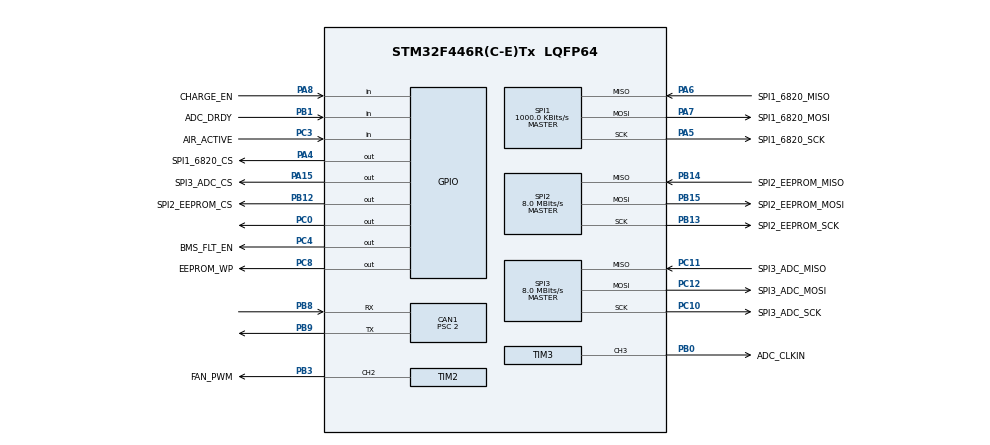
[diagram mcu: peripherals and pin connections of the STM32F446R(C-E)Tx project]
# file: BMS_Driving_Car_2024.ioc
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CAN1.BS1=CAN_BS1_13TQ
CAN1.BS2=CAN_BS2_2TQ
CAN1.CalculateBaudRate=500000
CAN1.CalculateTimeBit=2000
CAN1.CalculateTimeQuantum=125.0
CAN1.Prescaler=2
Mcu.Family=STM32F4
Mcu.Name=STM32F446R(C-E)Tx
Mcu.Package=LQFP64
NVIC.PriorityGroup=NVIC_PRIORITYGROUP_4
PA13.Mode=Serial_Wire
PA13.Signal=SYS_JTMS-SWDIO
PA14.Mode=Serial_Wire
PA14.Signal=SYS_JTCK-SWCLK
PA15.GPIO_Label=SPI3_ADC_CS
PA15.Signal=GPIO_Output
PA4.GPIO_Label=SPI1_6820_CS
PA4.Signal=GPIO_Output
PA5.GPIO_Label=SPI1_6820_SCK
PA5.Mode=Full_Duplex_Master
PA5.Signal=SPI1_SCK
PA6.GPIO_Label=SPI1_6820_MISO
PA6.Mode=Full_Duplex_Master
PA6.Signal=SPI1_MISO
PA7.GPIO_Label=SPI1_6820_MOSI
PA7.Mode=Full_Duplex_Master
PA7.Signal=SPI1_MOSI
PA8.GPIO_Label=CHARGE_EN
PA8.Signal=GPIO_Input
PB0.GPIO_Label=ADC_CLKIN
PB0.Signal=S_TIM3_CH3
PB1.GPIO_Label=ADC_DRDY
PB1.Signal=GPIO_Input
PB12.GPIO_Label=SPI2_EEPROM_CS
PB12.Signal=GPIO_Output
PB13.GPIO_Label=SPI2_EEPROM_SCK
PB13.Mode=Full_Duplex_Master
PB13.Signal=SPI2_SCK
PB14.GPIO_Label=SPI2_EEPROM_MISO
PB14.Mode=Full_Duplex_Master
PB14.Signal=SPI2_MISO
PB15.GPIO_Label=SPI2_EEPROM_MOSI
PB15.Mode=Full_Duplex_Master
PB15.Signal=SPI2_MOSI
PB3.GPIO_Label=FAN_PWM
PB3.Signal=S_TIM2_CH2
PB8.Mode=CAN_Activate
PB8.Signal=CAN1_RX
PB9.Mode=CAN_Activate
PB9.Signal=CAN1_TX
PC0.Signal=GPIO_Output
PC10.GPIO_Label=SPI3_ADC_SCK
PC10.Mode=Full_Duplex_Master
PC10.Signal=SPI3_SCK
PC11.GPIO_Label=SPI3_ADC_MISO
PC11.Mode=Full_Duplex_Master
PC11.Signal=SPI3_MISO
PC12.GPIO_Label=SPI3_ADC_MOSI
PC12.Mode=Full_Duplex_Master
PC12.Signal=SPI3_MOSI
PC3.GPIO_Label=AIR_ACTIVE
PC3.Signal=GPIO_Input
PC4.GPIO_Label=BMS_FLT_EN
PC4.Signal=GPIO_Output
PC8.GPIO_Label=EEPROM_WP
PC8.Signal=GPIO_Output
ProjectManager.HeapSize=0x200
ProjectManager.StackSize=0x400
ProjectManager.TargetToolchain=STM32CubeIDE
RCC.CortexFreq_Value=16000000
RCC.USBFreq_Value=96000000
RCC.VCOOutputFreq_Value=192000000
SH.S_TIM2_CH2.0=TIM2_CH2,PWM Generation2 CH2
SH.S_TIM3_CH3.0=TIM3_CH3,PWM Generation3 CH3
SPI1.BaudRatePrescaler=SPI_BAUDRATEPRESCALER_16
SPI1.CLKPhase=SPI_PHASE_2EDGE
SPI1.CLKPolarity=SPI_POLARITY_HIGH
SPI1.CalculateBaudRate=1000.0 KBits/s
SPI1.Direction=SPI_DIRECTION_2LINES
SPI1.Mode=SPI_MODE_MASTER
SPI1.VirtualType=VM_MASTER
SPI2.CalculateBaudRate=8.0 MBits/s
SPI2.Direction=SPI_DIRECTION_2LINES
SPI2.Mode=SPI_MODE_MASTER
SPI2.VirtualType=VM_MASTER
SPI3.CLKPhase=SPI_PHASE_2EDGE
SPI3.CalculateBaudRate=8.0 MBits/s
SPI3.Direction=SPI_DIRECTION_2LINES
SPI3.Mode=SPI_MODE_MASTER
SPI3.VirtualType=VM_MASTER
TIM2.Channel-PWM\ Generation2\ CH2=TIM_CHANNEL_2
TIM2.Period=100-1
TIM2.Prescaler=16
TIM2.Pulse-PWM\ Generation2\ CH2=1
TIM3.Channel-PWM\ Generation3\ CH3=TIM_CHANNEL_3
TIM3.Period=1
TIM3.Pulse-PWM\ Generation3\ CH3=1
board=custom

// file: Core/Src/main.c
/* USER CODE BEGIN Header */
/**
  ******************************************************************************
  * @file           : main.c
  * @brief          : Main program body
  ******************************************************************************
  * @attention
  *
  * Copyright (c) 2024 STMicroelectronics.
  * All rights reserved.
  *
  * This software is licensed under terms that can be found in the LICENSE file
  * in the root directory of this software component.
  * If no LICENSE file comes with this software, it is provided AS-IS.
  *
  ******************************************************************************
  */
/* USER CODE END Header */
#include "main.h"

/* USER CODE BEGIN Includes */
#include <stdbool.h>
#include "BMSconfig.h"
#include "Fault.h"
// #include "LTC2949.h"
#include "LTC6811.h"
#include "PackCalculations.h"
#include "SPI.h"

/* USER CODE END Includes */

/* USER CODE BEGIN PD */
#define POLLING_ID 0x4E0
#define CELLVAL_ID 0x780
#define BMSSTAT_ID 0x781
#define BMSVINF_ID 0x782
#define BMSTINF_ID 0x783
#define PACKSTAT_ID 0x180
#define CHARGER_OUT_ID 0x405
#define CELL_VOLTAGE_FAULTS 0x785
#define CELL_TEMP_FAULTS 0x786

#define CHARGER_IN_ID 0x1806E5F4
#define CHARGER_INFO_ID 0x700
#define CONSTANT_CAN_ENABLE 1

#define BALANCE_EN  0

/* USER CODE END PD */

CAN_HandleTypeDef hcan1;

SPI_HandleTypeDef hspi1;
SPI_HandleTypeDef hspi2;
SPI_HandleTypeDef hspi3;

TIM_HandleTypeDef htim2;
TIM_HandleTypeDef htim3;

/* USER CODE BEGIN PV */
SPI_HandleTypeDef *ltc_spi = &hspi1;

CAN_TxHeaderTypeDef TxHeader;
CAN_RxHeaderTypeDef RxHeader;
uint8_t TxData[8];
uint8_t RxData[8] = {0, 0, 0, 0, 0, 0, 0, 0};
uint32_t TxMailbox;

CAN_TxHeaderTypeDef ChargerTxHeader;
uint8_t ChargerTxData[8];
uint8_t charge_rate = 2;
uint8_t global_error_count = 0;
uint8_t balance_counter = 0;

bool CHARGE_EN = 1;
bool BMS_FAULT = 0;

uint16_t *buff_2949;
bool ret_2949;

uint8_t BMS_DATA[144][6];
uint8_t BMS_STATUS[6];
uint8_t CELLVAL_DATA[6];
bool discharge[12][12];
bool full_discharge[12][12];

/* USER CODE END PV */

void SystemClock_Config(void);
static void MX_GPIO_Init(void);
static void MX_CAN1_Init(void);
static void MX_SPI1_Init(void);
static void MX_SPI2_Init(void);
static void MX_SPI3_Init(void);
static void MX_TIM2_Init(void);
static void MX_TIM3_Init(void);
/* USER CODE BEGIN PFP */
void setChargerTxData(BMSConfigStructTypedef cfg);
void CELLVAL_message(BMSConfigStructTypedef cfg, uint8_t bmsData[144][6]);
void BMSSTAT_message(BMSConfigStructTypedef cfg, uint8_t bmsStatus[6]);
void BMSVINF_message(BMSConfigStructTypedef cfg, BMS_critical_info_t bms);
void BMSTINF_message(BMSConfigStructTypedef cfg, BMS_critical_info_t bms, bool BMS_FAULT);
// void PACKSTAT_message(BMSConfigStructTypedef cfg, BMS_critical_info_t bms, uint8_t bmsData[144][6]); // old method
void PACKSTAT_message(BMSConfigStructTypedef cfg, BMS_critical_info_t bms); // draft :D
bool pollingFlag = false;
/* USER CODE END PFP */

int main(void)
{

  /* MCU Configuration--------------------------------------------------------*/

  /* Reset of all peripherals, Initializes the Flash interface and the Systick. */
  HAL_Init();

  /* USER CODE BEGIN Init */
    BMSConfigStructTypedef BMSConfig;
    BMS_critical_info_t BMSCriticalInfo;

  /* USER CODE END Init */

  /* Configure the system clock */
  SystemClock_Config();

  /* Initialize all configured peripherals */
  MX_GPIO_Init();
  MX_CAN1_Init();
  MX_SPI1_Init();
  MX_SPI2_Init();
  MX_SPI3_Init();
  MX_TIM2_Init();
  MX_TIM3_Init();
  /* USER CODE BEGIN 2 */
    initPECTable();
    loadConfig(&BMSConfig);
    init_BMS_info(&BMSCriticalInfo, &BMSConfig);

    HAL_CAN_Start(&hcan1);

  /* USER CODE END 2 */
  uint16_t adi = 0;

  /* Infinite loop */
    while (1)
    {
    /* USER CODE BEGIN 3 */
    	adi++;
    	HAL_TIM_PWM_Start(&htim2, TIM_CHANNEL_2);
    	TIM2 -> CCR2 = 50;

        writeConfigAll(&BMSConfig);
        HAL_Delay(50);	 // TODO: Why is this here?

        /** FUNCTION CALL OVERVIEW
         * First: Call read6811 -> Voltages, Temps on 6811
         * Second: Check for Faults
         * Third: Call balancing algorithm
         * Fourth : Remaining CAN messages
         * Last: :3
         */
        readAllCellVoltages(BMSConfig, BMS_DATA);
        setCriticalVoltages(&BMSConfig, &BMSCriticalInfo, BMS_DATA);

        // Read all Temps from LTC6811, store them in 144x6 array, set the critical info struct, then send temp info over CAN
        readAllCellTemps(BMSConfig, BMS_DATA);

        setCriticalTemps(&BMSConfig, &BMSCriticalInfo, BMS_DATA);

        // Check cell connections -> not sure if this works -_-
        checkAllCellConnections(BMSConfig, BMS_DATA);

        BMSConfig.UV_threshold = (CHARGE_EN == 0) ? BMSConfig.LUV_threshold : BMSConfig.HUV_threshold;

        /* DO THIS WHEN TESTING BMS FAULTS*/    //*NOTE* : need to figure out which pin is the BMS fault pin
         bool BMS_FAULT = FAULT_check(&BMSConfig, &BMSCriticalInfo, BMS_DATA, BMS_STATUS);
         if (BMS_FAULT == false) {
        	 global_error_count = 0;
        	 HAL_GPIO_WritePin(BMS_FLT_EN_GPIO_Port, BMS_FLT_EN_Pin, GPIO_PIN_RESET);
         }
         else {
         	global_error_count++;
         	if (global_error_count == 1) {
         		global_error_count = 0;
         		HAL_GPIO_WritePin(BMS_FLT_EN_GPIO_Port, BMS_FLT_EN_Pin, GPIO_PIN_SET);
             }
         }

        // Finally, balance if charging and toggled
        // TODO: make no balance when bms fault
        if(CHARGE_EN == 0 && BALANCE_EN == 1) {
            if(charge_rate != 0) {
                balance(&BMSConfig, &BMSCriticalInfo, BMS_DATA, discharge, full_discharge, balance_counter, charge_rate);

                if(balance_counter == 12) {
                    balance_counter = 0;
                }
            }
            setChargerTxData(BMSConfig);

            if(charge_rate != 0) {
                dischargeCellGroups(&BMSConfig, discharge);
                HAL_Delay(BMSConfig.dischargeTime);
            } else {
                // checkDischarge(BMSConfig, full_discharge, BMS_DATA); // not anywhere in past code??? WTF
                dischargeCellGroups(&BMSConfig, full_discharge);
                HAL_Delay(BMSConfig.dischargeTime);
            }
        }

        // Send remaining CAN messages
        BMSVINF_message(BMSConfig, BMSCriticalInfo);
        BMSTINF_message(BMSConfig, BMSCriticalInfo, BMS_FAULT);
        PACKSTAT_message(BMSConfig, BMSCriticalInfo);
        BMSSTAT_message(BMSConfig, BMS_STATUS);
        PACKSTAT_message(BMSConfig, BMSCriticalInfo);

      if (pollingFlag || CONSTANT_CAN_ENABLE){
        CELLVAL_message(BMSConfig, BMS_DATA);
        pollingFlag = false;
      }
    }

  /* USER CODE END 3 */
}

void SystemClock_Config(void)
{
  RCC_OscInitTypeDef RCC_OscInitStruct = {0};
  RCC_ClkInitTypeDef RCC_ClkInitStruct = {0};

  /** Configure the main internal regulator output voltage
  */
  __HAL_RCC_PWR_CLK_ENABLE();
  __HAL_PWR_VOLTAGESCALING_CONFIG(PWR_REGULATOR_VOLTAGE_SCALE3);

  /** Initializes the RCC Oscillators according to the specified parameters
  * in the RCC_OscInitTypeDef structure.
  */
  RCC_OscInitStruct.OscillatorType = RCC_OSCILLATORTYPE_HSI;
  RCC_OscInitStruct.HSIState = RCC_HSI_ON;
  RCC_OscInitStruct.HSICalibrationValue = RCC_HSICALIBRATION_DEFAULT;
  RCC_OscInitStruct.PLL.PLLState = RCC_PLL_NONE;
  if (HAL_RCC_OscConfig(&RCC_OscInitStruct) != HAL_OK)
  {
    Error_Handler();
  }

  /** Initializes the CPU, AHB and APB buses clocks
  */
  RCC_ClkInitStruct.ClockType = RCC_CLOCKTYPE_HCLK|RCC_CLOCKTYPE_SYSCLK
                              |RCC_CLOCKTYPE_PCLK1|RCC_CLOCKTYPE_PCLK2;
  RCC_ClkInitStruct.SYSCLKSource = RCC_SYSCLKSOURCE_HSI;
  RCC_ClkInitStruct.AHBCLKDivider = RCC_SYSCLK_DIV1;
  RCC_ClkInitStruct.APB1CLKDivider = RCC_HCLK_DIV1;
  RCC_ClkInitStruct.APB2CLKDivider = RCC_HCLK_DIV1;

  if (HAL_RCC_ClockConfig(&RCC_ClkInitStruct, FLASH_LATENCY_0) != HAL_OK)
  {
    Error_Handler();
  }
}

static void MX_CAN1_Init(void)
{

  hcan1.Instance = CAN1;
  hcan1.Init.Prescaler = 2;
  hcan1.Init.Mode = CAN_MODE_NORMAL;
  hcan1.Init.SyncJumpWidth = CAN_SJW_1TQ;
  hcan1.Init.TimeSeg1 = CAN_BS1_13TQ;
  hcan1.Init.TimeSeg2 = CAN_BS2_2TQ;
  hcan1.Init.TimeTriggeredMode = DISABLE;
  hcan1.Init.AutoBusOff = DISABLE;
  hcan1.Init.AutoWakeUp = DISABLE;
  hcan1.Init.AutoRetransmission = DISABLE;
  hcan1.Init.ReceiveFifoLocked = DISABLE;
  hcan1.Init.TransmitFifoPriority = DISABLE;
  if (HAL_CAN_Init(&hcan1) != HAL_OK)
  {
    Error_Handler();
  }
  /* USER CODE BEGIN CAN1_Init 2 */

  // This ties the interupt to the rx_fifo0 msg bufer
  if (HAL_CAN_ActivateNotification(&hcan1, CAN_IT_RX_FIFO0_MSG_PENDING) != HAL_OK)
   {
     Error_Handler();
   }
  /* USER CODE END CAN1_Init 2 */

}

static void MX_SPI1_Init(void)
{

  /* SPI1 parameter configuration*/
  hspi1.Instance = SPI1;
  hspi1.Init.Mode = SPI_MODE_MASTER;
  hspi1.Init.Direction = SPI_DIRECTION_2LINES;
  hspi1.Init.DataSize = SPI_DATASIZE_8BIT;
  hspi1.Init.CLKPolarity = SPI_POLARITY_HIGH;
  hspi1.Init.CLKPhase = SPI_PHASE_2EDGE;
  hspi1.Init.NSS = SPI_NSS_SOFT;
  hspi1.Init.BaudRatePrescaler = SPI_BAUDRATEPRESCALER_16;
  hspi1.Init.FirstBit = SPI_FIRSTBIT_MSB;
  hspi1.Init.TIMode = SPI_TIMODE_DISABLE;
  hspi1.Init.CRCCalculation = SPI_CRCCALCULATION_DISABLE;
  hspi1.Init.CRCPolynomial = 10;
  if (HAL_SPI_Init(&hspi1) != HAL_OK)
  {
    Error_Handler();
  }

}

static void MX_SPI2_Init(void)
{

  /* SPI2 parameter configuration*/
  hspi2.Instance = SPI2;
  hspi2.Init.Mode = SPI_MODE_MASTER;
  hspi2.Init.Direction = SPI_DIRECTION_2LINES;
  hspi2.Init.DataSize = SPI_DATASIZE_8BIT;
  hspi2.Init.CLKPolarity = SPI_POLARITY_LOW;
  hspi2.Init.CLKPhase = SPI_PHASE_1EDGE;
  hspi2.Init.NSS = SPI_NSS_SOFT;
  hspi2.Init.BaudRatePrescaler = SPI_BAUDRATEPRESCALER_2;
  hspi2.Init.FirstBit = SPI_FIRSTBIT_MSB;
  hspi2.Init.TIMode = SPI_TIMODE_DISABLE;
  hspi2.Init.CRCCalculation = SPI_CRCCALCULATION_DISABLE;
  hspi2.Init.CRCPolynomial = 10;
  if (HAL_SPI_Init(&hspi2) != HAL_OK)
  {
    Error_Handler();
  }

}

static void MX_SPI3_Init(void)
{

  /* SPI3 parameter configuration*/
  hspi3.Instance = SPI3;
  hspi3.Init.Mode = SPI_MODE_MASTER;
  hspi3.Init.Direction = SPI_DIRECTION_2LINES;
  hspi3.Init.DataSize = SPI_DATASIZE_8BIT;
  hspi3.Init.CLKPolarity = SPI_POLARITY_LOW;
  hspi3.Init.CLKPhase = SPI_PHASE_2EDGE;
  hspi3.Init.NSS = SPI_NSS_SOFT;
  hspi3.Init.BaudRatePrescaler = SPI_BAUDRATEPRESCALER_2;
  hspi3.Init.FirstBit = SPI_FIRSTBIT_MSB;
  hspi3.Init.TIMode = SPI_TIMODE_DISABLE;
  hspi3.Init.CRCCalculation = SPI_CRCCALCULATION_DISABLE;
  hspi3.Init.CRCPolynomial = 10;
  if (HAL_SPI_Init(&hspi3) != HAL_OK)
  {
    Error_Handler();
  }

}

static void MX_TIM2_Init(void)
{

  TIM_MasterConfigTypeDef sMasterConfig = {0};
  TIM_OC_InitTypeDef sConfigOC = {0};

  htim2.Instance = TIM2;
  htim2.Init.Prescaler = 16;
  htim2.Init.CounterMode = TIM_COUNTERMODE_UP;
  htim2.Init.Period = 100-1;
  htim2.Init.ClockDivision = TIM_CLOCKDIVISION_DIV1;
  htim2.Init.AutoReloadPreload = TIM_AUTORELOAD_PRELOAD_DISABLE;
  if (HAL_TIM_PWM_Init(&htim2) != HAL_OK)
  {
    Error_Handler();
  }
  sMasterConfig.MasterOutputTrigger = TIM_TRGO_RESET;
  sMasterConfig.MasterSlaveMode = TIM_MASTERSLAVEMODE_DISABLE;
  if (HAL_TIMEx_MasterConfigSynchronization(&htim2, &sMasterConfig) != HAL_OK)
  {
    Error_Handler();
  }
  sConfigOC.OCMode = TIM_OCMODE_PWM1;
  sConfigOC.Pulse = 1;
  sConfigOC.OCPolarity = TIM_OCPOLARITY_HIGH;
  sConfigOC.OCFastMode = TIM_OCFAST_DISABLE;
  if (HAL_TIM_PWM_ConfigChannel(&htim2, &sConfigOC, TIM_CHANNEL_2) != HAL_OK)
  {
    Error_Handler();
  }
  HAL_TIM_MspPostInit(&htim2);

}

static void MX_TIM3_Init(void)
{

  TIM_MasterConfigTypeDef sMasterConfig = {0};
  TIM_OC_InitTypeDef sConfigOC = {0};

  htim3.Instance = TIM3;
  htim3.Init.Prescaler = 0;
  htim3.Init.CounterMode = TIM_COUNTERMODE_UP;
  htim3.Init.Period = 1;
  htim3.Init.ClockDivision = TIM_CLOCKDIVISION_DIV1;
  htim3.Init.AutoReloadPreload = TIM_AUTORELOAD_PRELOAD_DISABLE;
  if (HAL_TIM_PWM_Init(&htim3) != HAL_OK)
  {
    Error_Handler();
  }
  sMasterConfig.MasterOutputTrigger = TIM_TRGO_RESET;
  sMasterConfig.MasterSlaveMode = TIM_MASTERSLAVEMODE_DISABLE;
  if (HAL_TIMEx_MasterConfigSynchronization(&htim3, &sMasterConfig) != HAL_OK)
  {
    Error_Handler();
  }
  sConfigOC.OCMode = TIM_OCMODE_PWM1;
  sConfigOC.Pulse = 1;
  sConfigOC.OCPolarity = TIM_OCPOLARITY_HIGH;
  sConfigOC.OCFastMode = TIM_OCFAST_DISABLE;
  if (HAL_TIM_PWM_ConfigChannel(&htim3, &sConfigOC, TIM_CHANNEL_3) != HAL_OK)
  {
    Error_Handler();
  }
  HAL_TIM_MspPostInit(&htim3);

}

static void MX_GPIO_Init(void)
{
  GPIO_InitTypeDef GPIO_InitStruct = {0};

  /* GPIO Ports Clock Enable */
  __HAL_RCC_GPIOC_CLK_ENABLE();
  __HAL_RCC_GPIOA_CLK_ENABLE();
  __HAL_RCC_GPIOB_CLK_ENABLE();

  /*Configure GPIO pin Output Level */
  HAL_GPIO_WritePin(GPIOC, GPIO_PIN_0|BMS_FLT_EN_Pin|EEPROM_WP_Pin, GPIO_PIN_RESET);

  /*Configure GPIO pin Output Level */
  HAL_GPIO_WritePin(GPIOA, SPI1_6820_CS_Pin|SPI3_ADC_CS_Pin, GPIO_PIN_RESET);

  /*Configure GPIO pin Output Level */
  HAL_GPIO_WritePin(SPI2_EEPROM_CS_GPIO_Port, SPI2_EEPROM_CS_Pin, GPIO_PIN_RESET);

  /*Configure GPIO pins : PC0 BMS_FLT_EN_Pin EEPROM_WP_Pin */
  GPIO_InitStruct.Pin = GPIO_PIN_0|BMS_FLT_EN_Pin|EEPROM_WP_Pin;
  GPIO_InitStruct.Mode = GPIO_MODE_OUTPUT_PP;
  GPIO_InitStruct.Pull = GPIO_NOPULL;
  GPIO_InitStruct.Speed = GPIO_SPEED_FREQ_LOW;
  HAL_GPIO_Init(GPIOC, &GPIO_InitStruct);

  /*Configure GPIO pin : AIR_ACTIVE_Pin */
  GPIO_InitStruct.Pin = AIR_ACTIVE_Pin;
  GPIO_InitStruct.Mode = GPIO_MODE_INPUT;
  GPIO_InitStruct.Pull = GPIO_NOPULL;
  HAL_GPIO_Init(AIR_ACTIVE_GPIO_Port, &GPIO_InitStruct);

  /*Configure GPIO pins : SPI1_6820_CS_Pin SPI3_ADC_CS_Pin */
  GPIO_InitStruct.Pin = SPI1_6820_CS_Pin|SPI3_ADC_CS_Pin;
  GPIO_InitStruct.Mode = GPIO_MODE_OUTPUT_PP;
  GPIO_InitStruct.Pull = GPIO_NOPULL;
  GPIO_InitStruct.Speed = GPIO_SPEED_FREQ_LOW;
  HAL_GPIO_Init(GPIOA, &GPIO_InitStruct);

  /*Configure GPIO pin : ADC_DRDY_Pin */
  GPIO_InitStruct.Pin = ADC_DRDY_Pin;
  GPIO_InitStruct.Mode = GPIO_MODE_INPUT;
  GPIO_InitStruct.Pull = GPIO_NOPULL;
  HAL_GPIO_Init(ADC_DRDY_GPIO_Port, &GPIO_InitStruct);

  /*Configure GPIO pin : SPI2_EEPROM_CS_Pin */
  GPIO_InitStruct.Pin = SPI2_EEPROM_CS_Pin;
  GPIO_InitStruct.Mode = GPIO_MODE_OUTPUT_PP;
  GPIO_InitStruct.Pull = GPIO_NOPULL;
  GPIO_InitStruct.Speed = GPIO_SPEED_FREQ_LOW;
  HAL_GPIO_Init(SPI2_EEPROM_CS_GPIO_Port, &GPIO_InitStruct);

  /*Configure GPIO pin : CHARGE_EN_Pin */
  GPIO_InitStruct.Pin = CHARGE_EN_Pin;
  GPIO_InitStruct.Mode = GPIO_MODE_INPUT;
  GPIO_InitStruct.Pull = GPIO_NOPULL;
  HAL_GPIO_Init(CHARGE_EN_GPIO_Port, &GPIO_InitStruct);

}

/* USER CODE BEGIN 4 */
void setChargerTxData(BMSConfigStructTypedef cfg) {
    ChargerTxHeader.StdId = CHARGER_OUT_ID;
    ChargerTxHeader.DLC = 8;

    /* voltage data (hex value of desired voltage (V) times 10)*/
    ChargerTxData[0] = (uint8_t)((cfg.chargerVoltage >> 8) & 0xFF);
    ChargerTxData[1] = (uint8_t)(cfg.chargerVoltage & 0xFF);

    /* set the current data (hex value of desired current (A) times 10) */
    switch (charge_rate) {
        case 1:
            /* lower current */
            ChargerTxData[2] = (uint8_t)((cfg.lowerCurrent >> 8) & 0xFF);
            ChargerTxData[3] = (uint8_t)(cfg.lowerCurrent & 0xFF);
            break;

        case 2:
            /* normal current */
            ChargerTxData[2] = (uint8_t)((cfg.normalCurrent >> 8) & 0xFF);
            ChargerTxData[3] = (uint8_t)(cfg.normalCurrent & 0xFF);
            break;

        default:
            /* no current */
            ChargerTxData[2] = 0x00;
            ChargerTxData[3] = 0x00;
    }

    /* these data bytes are not used */
    ChargerTxData[4] = 0x00;
    ChargerTxData[5] = 0x00;
    ChargerTxData[6] = 0x00;
    ChargerTxData[7] = 0x00;

    HAL_CAN_AddTxMessage(&hcan1, &ChargerTxHeader, ChargerTxData, &TxMailbox);
}

void CELLVAL_message(BMSConfigStructTypedef cfg, uint8_t bmsData[144][6]) {
    // canCounter1++;
    TxHeader.StdId = CELLVAL_ID;
    TxHeader.DLC = 6;

    //Send dummy CAN message to wake up bus

    CELLVAL_DATA[0] = 1;
    CELLVAL_DATA[1] = 2;
    CELLVAL_DATA[2] = 3;
    CELLVAL_DATA[3] = 4;
    CELLVAL_DATA[4] = 5;
    CELLVAL_DATA[5] = 6;

    HAL_CAN_AddTxMessage(&hcan1, &TxHeader, CELLVAL_DATA, &TxMailbox);
    HAL_Delay(1);

    //replace with memcopy?
    for (uint8_t cell = 0; cell < NUM_CELLS; cell++) {
        CELLVAL_DATA[0] = bmsData[cell][0];
        CELLVAL_DATA[1] = bmsData[cell][1];
        CELLVAL_DATA[2] = bmsData[cell][2];
        CELLVAL_DATA[3] = bmsData[cell][3];
        CELLVAL_DATA[4] = bmsData[cell][4];
        CELLVAL_DATA[5] = bmsData[cell][5];

        HAL_CAN_AddTxMessage(&hcan1, &TxHeader, CELLVAL_DATA, &TxMailbox);
        HAL_Delay(1);
    }
}

void BMSSTAT_message(BMSConfigStructTypedef cfg, uint8_t bmsStatus[6]) {
    // canCounter2++;

    TxHeader.StdId = BMSSTAT_ID;
    TxHeader.DLC = 6;

    HAL_CAN_AddTxMessage(&hcan1, &TxHeader, bmsStatus, &TxMailbox);
}

void BMSVINF_message(BMSConfigStructTypedef cfg, BMS_critical_info_t bms) {
    uint16_t minV = bms.curr_min_voltage;
    uint8_t minCell = bms.min_volt_cell;
    uint16_t maxV = bms.curr_max_voltage;
    uint8_t maxCell = bms.max_volt_cell;

    TxHeader.StdId = BMSVINF_ID;
    TxHeader.DLC = 8;
    uint8_t BMSVINF_DATA[8];

    BMSVINF_DATA[0] = (uint8_t)((maxV >> 8) & 0xFF);
    BMSVINF_DATA[1] = (uint8_t)(maxV & 0xFF);
    BMSVINF_DATA[2] = maxCell;
    BMSVINF_DATA[3] = (uint8_t)((minV >> 8) & 0xFF);
    BMSVINF_DATA[4] = (uint8_t)(minV & 0xFF);
    BMSVINF_DATA[5] = minCell;
    // BMSVINF_DATA[6] = (uint8_t)((averageV >> 8) & 0xFF);
    // BMSVINF_DATA[7] = (uint8_t)(averageV & 0xFF);

    HAL_CAN_AddTxMessage(&hcan1, &TxHeader, BMSVINF_DATA, &TxMailbox);
}

void BMSTINF_message(BMSConfigStructTypedef cfg, BMS_critical_info_t bms, bool BMS_FAULT) {
    uint16_t minT = bms.curr_min_temp;
    uint8_t minCell = bms.min_temp_cell;
    uint16_t maxT = bms.curr_max_temp;
    uint8_t maxCell = bms.max_temp_cell;

    // averageT = (uint16_t)(sum / (cfg.numOfICs * cfg.numOfTempPerIC)); //bug -> we only take 4 readings per board for temperatures
    // averageT = (uint16_t)(sum / (cfg.numOfICs * cfg.numOfTempPerIC));

    TxHeader.StdId = BMSTINF_ID;
    TxHeader.DLC = 8;
    uint8_t BMSTINF_DATA[8];

    BMSTINF_DATA[0] = (uint8_t)((maxT >> 8) & 0xFF);
    BMSTINF_DATA[1] = (uint8_t)(maxT & 0xFF);
    BMSTINF_DATA[2] = maxCell;
    BMSTINF_DATA[3] = (uint8_t)((minT >> 8) & 0xFF);
    BMSTINF_DATA[4] = (uint8_t)(minT & 0xFF);
    BMSTINF_DATA[5] = minCell;
    // BMSTINF_DATA[6] = (uint8_t)((averageT >> 8) & 0xFF);
    // BMSTINF_DATA[7] = (uint8_t)(averageT & 0xFF);

    HAL_CAN_AddTxMessage(&hcan1, &TxHeader, BMSTINF_DATA, &TxMailbox);

    // Insert PWM code
    if ((maxT < 17400) || BMS_FAULT) {
        HAL_GPIO_WritePin(GPIOA, GPIO_PIN_2, GPIO_PIN_RESET);
    } else {
        HAL_GPIO_WritePin(GPIOA, GPIO_PIN_2, GPIO_PIN_SET);
        // HAL_GPIO_TogglePin(DEBUG_GPIO_Port, DEBUG_Pin);	// which PIN is this?
    }
}

void PACKSTAT_message(BMSConfigStructTypedef cfg, BMS_critical_info_t bms) {
    TxHeader.StdId = PACKSTAT_ID;
    TxHeader.DLC = 6;
    uint8_t PACKSTAT_DATA[6];

    uint16_t pack_voltage = bms.packVoltage;
    uint16_t pack_current = bms.packCurrent;
    uint16_t pack_power = bms.packPower;

    PACKSTAT_DATA[0] = (uint8_t)((pack_voltage >> 8) & 0xFF);
    PACKSTAT_DATA[1] = (uint8_t)(pack_voltage & 0xFF);
    PACKSTAT_DATA[2] = (uint8_t)((pack_current >> 8) & 0xFF);
    PACKSTAT_DATA[3] = (uint8_t)(pack_current & 0xFF);
    PACKSTAT_DATA[4] = (uint8_t)((pack_power >> 8) & 0xFF);
    PACKSTAT_DATA[5] = (uint8_t)(pack_power & 0xFF);

    HAL_CAN_AddTxMessage(&hcan1, &TxHeader, PACKSTAT_DATA, &TxMailbox);
}

void HAL_CAN_RxFifo0MsgPendingCallback(CAN_HandleTypeDef *hcan){
	//TODO: use HAL_CAN_GetRxMessage() to get the message off the rx fifo
  HAL_CAN_GetRxMessage(&hcan1, CAN_RX_FIFO0, &RxHeader, RxData);
  if (RxHeader.StdId == POLLING_ID) {
    pollingFlag = true;
  }

}

// This will not work if we aren't using ADC
/*
void PACKSTAT_message(BMSConfigStructTypedef cfg, BMS_critical_info_t bms, uint8_t bmsData[144][6]) {
    // canCounter3++;
    uint16_t channel1;
    uint16_t channel2;
    uint16_t pack_voltage;

    // +/- 20A (high res, channel 1)
    sConfig.Channel = ADC_CHANNEL_1;
    sConfig.Rank = ADC_REGULAR_RANK_1;
    sConfig.SamplingTime = ADC_SAMPLETIME_55CYCLES_5;
    HAL_ADC_ConfigChannel(&hadc1, &sConfig);

    HAL_ADC_Start(&hadc1);
    // HAL_ADCEx_Calibration_Start(&hadc1);
    HAL_ADC_PollForConversion(&hadc1, 10);
    channel1 = HAL_ADC_GetValue(&hadc1);
    HAL_ADC_Stop(&hadc1);

    // +/- 500A (full range, channel 2)
    sConfig.Channel = ADC_CHANNEL_2;
    sConfig.Rank = ADC_REGULAR_RANK_1;
    sConfig.SamplingTime = ADC_SAMPLETIME_55CYCLES_5;
    HAL_ADC_ConfigChannel(&hadc1, &sConfig);

    HAL_ADC_Start(&hadc1);
    // HAL_ADCEx_Calibration_Start(&hadc1);
    HAL_ADC_PollForConversion(&hadc1, 10);
    channel2 = HAL_ADC_GetValue(&hadc1);
    HAL_ADC_Stop(&hadc1);

    pack_voltage = (uint16_t)((bms.packVoltage / 10000) * 100);	// mV to V

    TxHeader.StdId = PACKSTAT_ID;
    TxHeader.DLC = 7;
    uint8_t PACKSTAT_DATA[7];

    PACKSTAT_DATA[0] = (uint8_t)((pack_voltage >> 8) & 0xFF);
    PACKSTAT_DATA[1] = (uint8_t)(pack_voltage & 0xFF);
    PACKSTAT_DATA[2] = (uint8_t)((channel1 >> 8) & 0xFF);
    PACKSTAT_DATA[3] = (uint8_t)(channel1 & 0xFF);
    PACKSTAT_DATA[4] = (uint8_t)((channel2 >> 8) & 0xFF);
    PACKSTAT_DATA[5] = (uint8_t)(channel2 & 0xFF);
    PACKSTAT_DATA[6] = 0x00;
    HAL_CAN_AddTxMessage(&hcan1, &TxHeader, PACKSTAT_DATA, &TxMailbox);
    // returns message with cell voltage data
}
*/

/* USER CODE END 4 */

void Error_Handler(void)
{
  __disable_irq();
  while (1)
  {
  }
}
